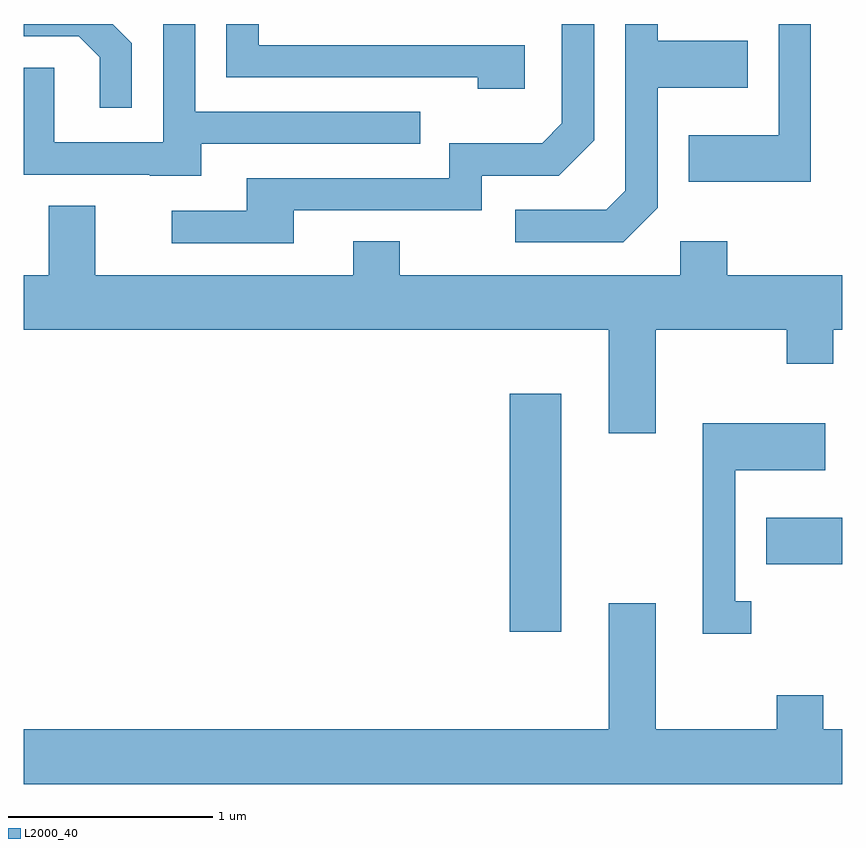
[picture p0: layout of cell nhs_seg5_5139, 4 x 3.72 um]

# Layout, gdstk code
import gdstk
lib = gdstk.Library(unit=1e-6, precision=1e-09)
def R(c, l, rs):  # rectangles x0, y0, x1, y1
    for r in rs: c.add(gdstk.rectangle(r[:2], r[2:], *l))
def P(c, l, *ps):  # polygons
    for p in ps: c.add(gdstk.Polygon(p, *l))
L2000_40 = (2000, 40)

nhs_seg5_5139 = lib.new_cell('nhs_seg5_5139')
R(nhs_seg5_5139, L2000_40, [(339.986,1453.101,340.239,1454.264), (341.241,1453.431,341.611,1453.659)])
P(nhs_seg5_5139, L2000_40, [(338.139,1455.977),(338.044,1456.072),(337.611,1456.072),(337.611,1456.011),(337.879,1456.011),(337.981,1455.909),(337.981,1455.663),(338.139,1455.663)],
  [(338.479,1455.486),(339.548,1455.486),(339.548,1455.644),(338.449,1455.644),(338.449,1456.072),(338.291,1456.072),(338.291,1455.494),(337.759,1455.494),(337.759,1455.859),(337.611,1455.859),(337.611,1455.336),(338.225,1455.336),(338.225,1455.331),(338.479,1455.331)],
  [(338.929,1455.161),(339.849,1455.161),(339.849,1455.331),(340.227,1455.331),(340.399,1455.504),(340.399,1456.072),(340.241,1456.072),(340.241,1455.587),(340.144,1455.489),(339.691,1455.489),(339.691,1455.319),(338.701,1455.319),(338.701,1455.159),(338.333,1455.159),(338.333,1455.001),(338.929,1455.001)],
  [(340.059,1455.969),(338.759,1455.969),(338.759,1456.072),(338.601,1456.072),(338.601,1455.811),(339.831,1455.811),(339.831,1455.756),(340.059,1455.756)],
  [(340.709,1455.174),(340.709,1455.761),(341.149,1455.761),(341.149,1455.989),(340.709,1455.989),(340.709,1456.072),(340.551,1456.072),(340.551,1455.257),(340.459,1455.164),(340.013,1455.164),(340.013,1455.006),(340.542,1455.006)],
  [(341.459,1456.072),(341.301,1456.072),(341.301,1455.529),(340.861,1455.529),(340.861,1455.301),(341.459,1455.301)],
  [(340.699,1454.576),(341.341,1454.576),(341.341,1454.411),(341.569,1454.411),(341.569,1454.576),(341.611,1454.576),(341.611,1454.844),(341.049,1454.844),(341.049,1455.009),(340.821,1455.009),(340.821,1454.844),(339.449,1454.844),(339.449,1455.009),(339.221,1455.009),(339.221,1454.844),(337.959,1454.844),(337.959,1455.184),(337.731,1455.184),(337.731,1454.844),(337.611,1454.844),(337.611,1454.576),(340.471,1454.576),(340.471,1454.071),(340.699,1454.071)],
  [(341.168,1453.249),(341.089,1453.249),(341.089,1453.891),(341.529,1453.891),(341.529,1454.119),(340.931,1454.119),(340.931,1453.091),(341.168,1453.091)],
  [(341.611,1452.624),(341.519,1452.624),(341.519,1452.789),(341.291,1452.789),(341.291,1452.624),(340.699,1452.624),(340.699,1453.239),(340.471,1453.239),(340.471,1452.624),(337.611,1452.624),(337.611,1452.356),(341.611,1452.356)])

lib.write_gds('nhs_seg5_5139.gds')
